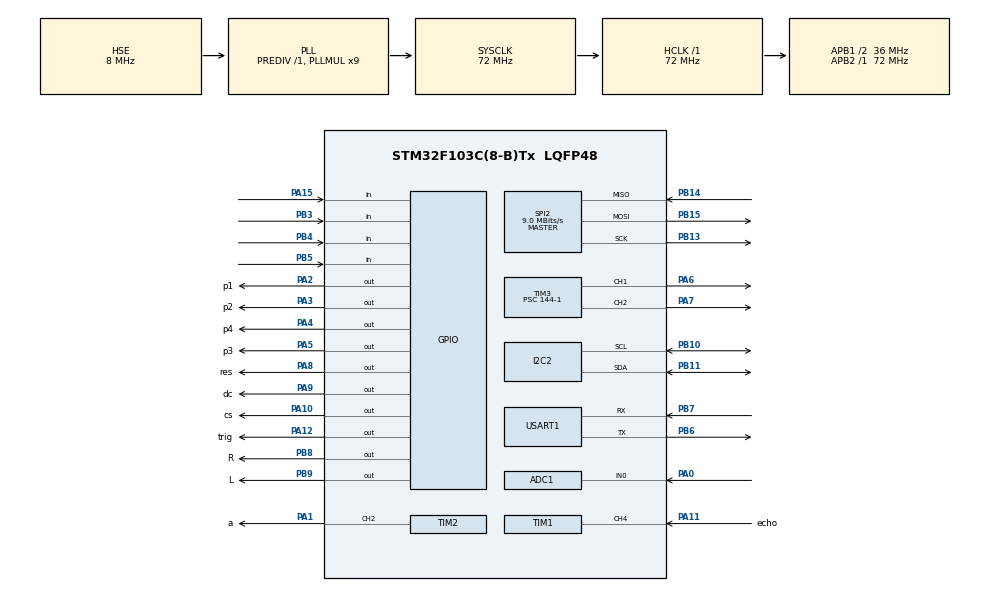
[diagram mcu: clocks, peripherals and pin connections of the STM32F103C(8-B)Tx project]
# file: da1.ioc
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ADC1.Channel-0\#ChannelRegularConversion=ADC_CHANNEL_0
ADC1.NbrOfConversionFlag=1
ADC1.Rank-0\#ChannelRegularConversion=1
ADC1.SamplingTime-0\#ChannelRegularConversion=ADC_SAMPLETIME_1CYCLE_5
ADC1.master=1
Mcu.Family=STM32F1
Mcu.Name=STM32F103C(8-B)Tx
Mcu.Package=LQFP48
NVIC.PriorityGroup=NVIC_PRIORITYGROUP_4
NVIC.SPI2_IRQn=true\:0\:0\:false\:false\:true\:true\:true\:true
NVIC.TIM1_CC_IRQn=true\:0\:0\:true\:false\:true\:true\:true\:true
NVIC.USART1_IRQn=true\:0\:0\:false\:false\:true\:true\:true\:true
PA0-WKUP.Signal=ADCx_IN0
PA1.GPIO_Label=a
PA1.Signal=S_TIM2_CH2
PA10.GPIO_Label=cs
PA10.Signal=GPIO_Output
PA11.GPIO_Label=echo
PA11.Signal=S_TIM1_CH4
PA12.GPIO_Label=trig
PA12.GPIO_Speed=GPIO_SPEED_FREQ_HIGH
PA12.Signal=GPIO_Output
PA13.Mode=Serial_Wire
PA13.Signal=SYS_JTMS-SWDIO
PA14.Mode=Serial_Wire
PA14.Signal=SYS_JTCK-SWCLK
PA15.Signal=GPIO_Input
PA2.GPIO_Label=p1
PA2.Signal=GPIO_Output
PA3.GPIO_Label=p2
PA3.Signal=GPIO_Output
PA4.GPIO_Label=p4
PA4.Signal=GPIO_Output
PA5.GPIO_Label=p3
PA5.Signal=GPIO_Output
PA6.Signal=S_TIM3_CH1
PA7.Signal=S_TIM3_CH2
PA8.GPIO_Label=res
PA8.Signal=GPIO_Output
PA9.GPIO_Label=dc
PA9.Signal=GPIO_Output
PB10.Mode=I2C
PB10.Signal=I2C2_SCL
PB11.Mode=I2C
PB11.Signal=I2C2_SDA
PB13.Mode=Full_Duplex_Master
PB13.Signal=SPI2_SCK
PB14.Mode=Full_Duplex_Master
PB14.Signal=SPI2_MISO
PB15.Mode=Full_Duplex_Master
PB15.Signal=SPI2_MOSI
PB3.Signal=GPIO_Input
PB4.Signal=GPIO_Input
PB5.Signal=GPIO_Input
PB6.Mode=Asynchronous
PB6.Signal=USART1_TX
PB7.Mode=Asynchronous
PB7.Signal=USART1_RX
PB8.GPIO_Label=R
PB8.Signal=GPIO_Output
PB9.GPIO_Label=L
PB9.Signal=GPIO_Output
PD0-OSC_IN.Mode=HSE-External-Oscillator
PD0-OSC_IN.Signal=RCC_OSC_IN
PD1-OSC_OUT.Mode=HSE-External-Oscillator
PD1-OSC_OUT.Signal=RCC_OSC_OUT
ProjectManager.HeapSize=0x200
ProjectManager.StackSize=0x400
ProjectManager.TargetToolchain=STM32CubeIDE
RCC.ADCPresc=RCC_ADCPCLK2_DIV6
RCC.AHBFreq_Value=72000000
RCC.APB1CLKDivider=RCC_HCLK_DIV2
RCC.APB1Freq_Value=36000000
RCC.APB1TimFreq_Value=72000000
RCC.APB2Freq_Value=72000000
RCC.APB2TimFreq_Value=72000000
RCC.HCLKFreq_Value=72000000
RCC.PLLMUL=RCC_PLL_MUL9
RCC.PLLSourceVirtual=RCC_PLLSOURCE_HSE
RCC.SYSCLKFreq_VALUE=72000000
RCC.SYSCLKSource=RCC_SYSCLKSOURCE_PLLCLK
RCC.USBFreq_Value=72000000
SH.ADCx_IN0.0=ADC1_IN0,IN0
SH.S_TIM1_CH4.0=TIM1_CH4,Input_Capture4_from_TI4
SH.S_TIM2_CH2.0=TIM2_CH2,PWM Generation2 CH2
SH.S_TIM3_CH1.0=TIM3_CH1,PWM Generation1 CH1
SH.S_TIM3_CH2.0=TIM3_CH2,PWM Generation2 CH2
SPI2.BaudRatePrescaler=SPI_BAUDRATEPRESCALER_4
SPI2.CalculateBaudRate=9.0 MBits/s
SPI2.Direction=SPI_DIRECTION_2LINES
SPI2.Mode=SPI_MODE_MASTER
SPI2.VirtualType=VM_MASTER
TIM1.Channel-Input_Capture4_from_TI4=TIM_CHANNEL_4
TIM1.Period=0xffff-1
TIM1.Prescaler=72-1
TIM2.Channel-PWM\ Generation2\ CH2=TIM_CHANNEL_2
TIM2.Period=10000-1
TIM2.Prescaler=144-1
TIM3.Channel-PWM\ Generation1\ CH1=TIM_CHANNEL_1
TIM3.Channel-PWM\ Generation2\ CH2=TIM_CHANNEL_2
TIM3.Period=10000-1
TIM3.Prescaler=144-1
USART1.VirtualMode=VM_ASYNC
VP_TIM1_VS_ClockSourceINT.Mode=Internal
VP_TIM3_VS_ClockSourceINT.Mode=Internal
VP_TIM3_VS_ClockSourceITR.Mode=TriggerSource_ITR0
board=custom

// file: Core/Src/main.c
/* USER CODE BEGIN Header */
/**
  ******************************************************************************
  * @file           : main.c
  * @brief          : Main program body
  ******************************************************************************
  * @attention
  *
  * Copyright (c) 2025 STMicroelectronics.
  * All rights reserved.
  *
  * This software is licensed under terms that can be found in the LICENSE file
  * in the root directory of this software component.
  * If no LICENSE file comes with this software, it is provided AS-IS.
  *
  ******************************************************************************
  */
/* USER CODE END Header */
#include "main.h"

/* USER CODE BEGIN Includes */
#include "hcsr04.h"
#include "mpu6050.h"
#include "ssd1306.h"
#include <string.h>
#include <stdio.h>
/* USER CODE END Includes */

ADC_HandleTypeDef hadc1;

I2C_HandleTypeDef hi2c2;

SPI_HandleTypeDef hspi2;

TIM_HandleTypeDef htim1;
TIM_HandleTypeDef htim2;
TIM_HandleTypeDef htim3;

UART_HandleTypeDef huart1;

void SystemClock_Config(void);
static void MX_GPIO_Init(void);
static void MX_ADC1_Init(void);
static void MX_I2C2_Init(void);
static void MX_SPI2_Init(void);
static void MX_TIM2_Init(void);
static void MX_TIM3_Init(void);
static void MX_USART1_UART_Init(void);
static void MX_TIM1_Init(void);
/* USER CODE BEGIN PFP */
uint32_t IC_Val1 = 0;
uint32_t IC_Val2 = 0;
uint32_t Difference = 0;
uint8_t Is_First_Captured = 0;  // is the first value captured ?
double Distance  = 0.0;
uint32_t check;
char chuoi[10];
uint32_t ADC_VAL;
uint32_t pin,mode;
float anpha=5.555555555;//1 độ
uint16_t B;
char no[20]="                   ";
/* USER CODE END PFP */

/* USER CODE BEGIN 0 */
//-------------------------------hàm do khoảng cách rằng sr04-----------
void HAL_TIM_IC_CaptureCallback(TIM_HandleTypeDef *htim)
{

	if (htim->Channel == HAL_TIM_ACTIVE_CHANNEL_4)  // if the interrupt source is channel1
	{
		if (Is_First_Captured==0) // if the first value is not captured
		{
			IC_Val1 = HAL_TIM_ReadCapturedValue(htim, TIM_CHANNEL_4); // read the first value
			Is_First_Captured = 1;  // set the first captured as true
			// Now change the polarity to falling edge
			__HAL_TIM_SET_CAPTUREPOLARITY(htim, TIM_CHANNEL_4, TIM_INPUTCHANNELPOLARITY_FALLING);
		}

		else if (Is_First_Captured==1)   // if the first is already captured
		{
			IC_Val2 = HAL_TIM_ReadCapturedValue(htim, TIM_CHANNEL_4);  // read second value
			__HAL_TIM_SET_COUNTER(htim, 0);  // reset the counter
			if (IC_Val2 > IC_Val1)
						{
							Difference = IC_Val2-IC_Val1;
						}

						else if (IC_Val1 > IC_Val2)
						{
							Difference = (0xffff - IC_Val1) + IC_Val2;
						}

						Distance = (double)Difference * .034/2;
						Is_First_Captured = 0; // set it back to false

			// set polarity to rising edge
			__HAL_TIM_SET_CAPTUREPOLARITY(htim, TIM_CHANNEL_4, TIM_INPUTCHANNELPOLARITY_RISING);
			__HAL_TIM_DISABLE_IT(&htim1, TIM_IT_CC1);
		}
	}
}
// chuyen doi int to string
void int2char(uint16_t N, char * str){
	int i = 0;
	while (N > 0) {

	        // Convert integer digit to character and store
	      	// it in the str
	        str[i++] = N % 10 + '0';
	      	N /= 10;
	}
	str[i] = '\0';
	// Reverse the string to get the correct order
	for (int j = 0, k = i - 1; j < k; j++, k--) {
		char temp = str[j];
		str[j] = str[k];
		str[k] = temp;
	}
}
//-------------hàm di chuyển servo----------------
void servo(uint16_t x){

		  htim3.Instance->CCR2 =(uint16_t)(270+(float)x*anpha);  // duty cycle is 1.5 ms
}
//-------------hàm đ�?c giá trị adc và chuyển đổi thành volt
void read_adc(){
	HAL_ADC_Start(&hadc1);
	HAL_ADC_PollForConversion(&hadc1, 10);
	ADC_VAL = HAL_ADC_GetValue(&hadc1);
	HAL_ADC_Stop(&hadc1);
	pin=(double)(((((double)ADC_VAL*3.3)/4095)*6)*100)/12;
}
//-------------hàm hiện thị------
void pin1(uint8_t x,uint8_t y){
	read_adc();
	int2char((uint16_t) pin, chuoi);
	ssd1306_SetCursor(x, y);
	ssd1306_WriteString(chuoi, Font_7x10, White);
	ssd1306_UpdateScreen();
}
void mode1(uint8_t x,uint8_t y){
	if (mode==1) {
		ssd1306_SetCursor(x, y);
		ssd1306_WriteString("Che do tu dong", Font_7x10, White);
		ssd1306_UpdateScreen();
	}
	if (mode==2) {
		ssd1306_SetCursor(x, y);
		ssd1306_WriteString("Che do dieu khien", Font_7x10, White);
		ssd1306_UpdateScreen();
	}
}
//-------------hàm đi�?u khiển------
void speed1(uint16_t R,uint16_t L){
	htim2.Instance->CCR2 =L;
	htim3.Instance->CCR1 =R;
}
void go_up(){
	 HAL_GPIO_WritePin(GPIOA, p1_Pin, 1);
	 HAL_GPIO_WritePin(GPIOA, p4_Pin, 1);
	 HAL_GPIO_WritePin(GPIOA, p2_Pin, 0);
	 HAL_GPIO_WritePin(GPIOA, p3_Pin, 0);
}
void go_down(){
	 HAL_GPIO_WritePin(GPIOA, p2_Pin, 1);
	 HAL_GPIO_WritePin(GPIOA, p3_Pin, 1);
	 HAL_GPIO_WritePin(GPIOA, p1_Pin, 0);
	 HAL_GPIO_WritePin(GPIOA, p4_Pin, 0);
}
void go_right(){
	 HAL_GPIO_WritePin(GPIOA, p1_Pin, 1);
	 HAL_GPIO_WritePin(GPIOA, p3_Pin, 1);
	 HAL_GPIO_WritePin(GPIOA, p2_Pin, 0);
	 HAL_GPIO_WritePin(GPIOA, p4_Pin, 0);
}
void go_left(){
	 HAL_GPIO_WritePin(GPIOA, p2_Pin, 1);
	 HAL_GPIO_WritePin(GPIOA, p4_Pin, 1);
	 HAL_GPIO_WritePin(GPIOA, p1_Pin, 0);
	 HAL_GPIO_WritePin(GPIOA, p3_Pin, 0);
}
//-------hàm hiển thị oled
void display(){
	ssd1306_SetCursor(0, 0);
	ssd1306_WriteString(no, Font_7x10, White);
	ssd1306_SetCursor(0, 12);
	ssd1306_WriteString(no, Font_7x10, White);
	ssd1306_SetCursor(0, 24);
	ssd1306_WriteString(no, Font_7x10, White);
	ssd1306_UpdateScreen();
	HCSR04_Read(&htim1, &check);
	int2char(Distance,chuoi);
	ssd1306_SetCursor(0, 24);
	ssd1306_WriteString(chuoi, Font_7x10, White);
	ssd1306_WriteString("--", Font_7x10, White);
	int2char(B, chuoi);
	ssd1306_WriteString(chuoi, Font_7x10, White);
	ssd1306_UpdateScreen();
	pin1(0,0);
	mode1(0, 12);
}
//------------HÀM HIỂM THỊ LED RẼ
void led_R_L(){
	if 		(B<90) 	{
		HAL_GPIO_WritePin(R_GPIO_Port, R_Pin, GPIO_PIN_SET);
		HAL_GPIO_WritePin(L_GPIO_Port, L_Pin, GPIO_PIN_RESET);
	}
	else if	(B>90)	 {
		HAL_GPIO_WritePin(L_GPIO_Port, L_Pin, GPIO_PIN_SET);
		HAL_GPIO_WritePin(R_GPIO_Port, R_Pin, GPIO_PIN_RESET);
	}
	else {
		 HAL_GPIO_WritePin(L_GPIO_Port, L_Pin, GPIO_PIN_RESET);
		 HAL_GPIO_WritePin(R_GPIO_Port, R_Pin, GPIO_PIN_RESET);
	}
}
/* USER CODE END 0 */

int main(void)
{

  /* MCU Configuration--------------------------------------------------------*/

  /* Reset of all peripherals, Initializes the Flash interface and the Systick. */
  HAL_Init();

  /* Configure the system clock */
  SystemClock_Config();

  /* Initialize all configured peripherals */
  MX_GPIO_Init();
  MX_ADC1_Init();
  MX_I2C2_Init();
  MX_SPI2_Init();
  MX_TIM2_Init();
  MX_TIM3_Init();
  MX_USART1_UART_Init();
  MX_TIM1_Init();
  /* USER CODE BEGIN 2 */
  HAL_TIM_IC_Start_IT(&htim1,TIM_CHANNEL_4); // khoi dong timer
  ssd1306_Init();
  HAL_TIM_PWM_Start(&htim3, TIM_CHANNEL_2);
  HAL_TIM_PWM_Start(&htim2, TIM_CHANNEL_2);
  HAL_TIM_PWM_Start(&htim3, TIM_CHANNEL_1);
  mode=1;
  pin=100;
  HAL_GPIO_WritePin(R_GPIO_Port, R_Pin, GPIO_PIN_SET);
  /* USER CODE END 2 */

  /* Infinite loop */
  while (1)
  {

    /* USER CODE BEGIN 3 */
//HCSR04_Read(&htim1, &check);
	  servo(B);
	  display();
	  led_R_L();
	  speed1(2000,2000);
	  go_left();
  }
  /* USER CODE END 3 */
}

void SystemClock_Config(void)
{
  RCC_OscInitTypeDef RCC_OscInitStruct = {0};
  RCC_ClkInitTypeDef RCC_ClkInitStruct = {0};
  RCC_PeriphCLKInitTypeDef PeriphClkInit = {0};

  /** Initializes the RCC Oscillators according to the specified parameters
  * in the RCC_OscInitTypeDef structure.
  */
  RCC_OscInitStruct.OscillatorType = RCC_OSCILLATORTYPE_HSE;
  RCC_OscInitStruct.HSEState = RCC_HSE_ON;
  RCC_OscInitStruct.HSEPredivValue = RCC_HSE_PREDIV_DIV1;
  RCC_OscInitStruct.HSIState = RCC_HSI_ON;
  RCC_OscInitStruct.PLL.PLLState = RCC_PLL_ON;
  RCC_OscInitStruct.PLL.PLLSource = RCC_PLLSOURCE_HSE;
  RCC_OscInitStruct.PLL.PLLMUL = RCC_PLL_MUL9;
  if (HAL_RCC_OscConfig(&RCC_OscInitStruct) != HAL_OK)
  {
    Error_Handler();
  }

  /** Initializes the CPU, AHB and APB buses clocks
  */
  RCC_ClkInitStruct.ClockType = RCC_CLOCKTYPE_HCLK|RCC_CLOCKTYPE_SYSCLK
                              |RCC_CLOCKTYPE_PCLK1|RCC_CLOCKTYPE_PCLK2;
  RCC_ClkInitStruct.SYSCLKSource = RCC_SYSCLKSOURCE_PLLCLK;
  RCC_ClkInitStruct.AHBCLKDivider = RCC_SYSCLK_DIV1;
  RCC_ClkInitStruct.APB1CLKDivider = RCC_HCLK_DIV2;
  RCC_ClkInitStruct.APB2CLKDivider = RCC_HCLK_DIV1;

  if (HAL_RCC_ClockConfig(&RCC_ClkInitStruct, FLASH_LATENCY_2) != HAL_OK)
  {
    Error_Handler();
  }
  PeriphClkInit.PeriphClockSelection = RCC_PERIPHCLK_ADC;
  PeriphClkInit.AdcClockSelection = RCC_ADCPCLK2_DIV6;
  if (HAL_RCCEx_PeriphCLKConfig(&PeriphClkInit) != HAL_OK)
  {
    Error_Handler();
  }
}

static void MX_ADC1_Init(void)
{

  ADC_ChannelConfTypeDef sConfig = {0};

  /** Common config
  */
  hadc1.Instance = ADC1;
  hadc1.Init.ScanConvMode = ADC_SCAN_DISABLE;
  hadc1.Init.ContinuousConvMode = DISABLE;
  hadc1.Init.DiscontinuousConvMode = DISABLE;
  hadc1.Init.ExternalTrigConv = ADC_SOFTWARE_START;
  hadc1.Init.DataAlign = ADC_DATAALIGN_RIGHT;
  hadc1.Init.NbrOfConversion = 1;
  if (HAL_ADC_Init(&hadc1) != HAL_OK)
  {
    Error_Handler();
  }

  /** Configure Regular Channel
  */
  sConfig.Channel = ADC_CHANNEL_0;
  sConfig.Rank = ADC_REGULAR_RANK_1;
  sConfig.SamplingTime = ADC_SAMPLETIME_1CYCLE_5;
  if (HAL_ADC_ConfigChannel(&hadc1, &sConfig) != HAL_OK)
  {
    Error_Handler();
  }

}

static void MX_I2C2_Init(void)
{

  hi2c2.Instance = I2C2;
  hi2c2.Init.ClockSpeed = 100000;
  hi2c2.Init.DutyCycle = I2C_DUTYCYCLE_2;
  hi2c2.Init.OwnAddress1 = 0;
  hi2c2.Init.AddressingMode = I2C_ADDRESSINGMODE_7BIT;
  hi2c2.Init.DualAddressMode = I2C_DUALADDRESS_DISABLE;
  hi2c2.Init.OwnAddress2 = 0;
  hi2c2.Init.GeneralCallMode = I2C_GENERALCALL_DISABLE;
  hi2c2.Init.NoStretchMode = I2C_NOSTRETCH_DISABLE;
  if (HAL_I2C_Init(&hi2c2) != HAL_OK)
  {
    Error_Handler();
  }

}

static void MX_SPI2_Init(void)
{

  /* SPI2 parameter configuration*/
  hspi2.Instance = SPI2;
  hspi2.Init.Mode = SPI_MODE_MASTER;
  hspi2.Init.Direction = SPI_DIRECTION_2LINES;
  hspi2.Init.DataSize = SPI_DATASIZE_8BIT;
  hspi2.Init.CLKPolarity = SPI_POLARITY_LOW;
  hspi2.Init.CLKPhase = SPI_PHASE_1EDGE;
  hspi2.Init.NSS = SPI_NSS_SOFT;
  hspi2.Init.BaudRatePrescaler = SPI_BAUDRATEPRESCALER_4;
  hspi2.Init.FirstBit = SPI_FIRSTBIT_MSB;
  hspi2.Init.TIMode = SPI_TIMODE_DISABLE;
  hspi2.Init.CRCCalculation = SPI_CRCCALCULATION_DISABLE;
  hspi2.Init.CRCPolynomial = 10;
  if (HAL_SPI_Init(&hspi2) != HAL_OK)
  {
    Error_Handler();
  }

}

static void MX_TIM1_Init(void)
{

  TIM_ClockConfigTypeDef sClockSourceConfig = {0};
  TIM_MasterConfigTypeDef sMasterConfig = {0};
  TIM_IC_InitTypeDef sConfigIC = {0};

  htim1.Instance = TIM1;
  htim1.Init.Prescaler = 72-1;
  htim1.Init.CounterMode = TIM_COUNTERMODE_UP;
  htim1.Init.Period = 0xffff-1;
  htim1.Init.ClockDivision = TIM_CLOCKDIVISION_DIV1;
  htim1.Init.RepetitionCounter = 0;
  htim1.Init.AutoReloadPreload = TIM_AUTORELOAD_PRELOAD_DISABLE;
  if (HAL_TIM_Base_Init(&htim1) != HAL_OK)
  {
    Error_Handler();
  }
  sClockSourceConfig.ClockSource = TIM_CLOCKSOURCE_INTERNAL;
  if (HAL_TIM_ConfigClockSource(&htim1, &sClockSourceConfig) != HAL_OK)
  {
    Error_Handler();
  }
  if (HAL_TIM_IC_Init(&htim1) != HAL_OK)
  {
    Error_Handler();
  }
  sMasterConfig.MasterOutputTrigger = TIM_TRGO_RESET;
  sMasterConfig.MasterSlaveMode = TIM_MASTERSLAVEMODE_DISABLE;
  if (HAL_TIMEx_MasterConfigSynchronization(&htim1, &sMasterConfig) != HAL_OK)
  {
    Error_Handler();
  }
  sConfigIC.ICPolarity = TIM_INPUTCHANNELPOLARITY_RISING;
  sConfigIC.ICSelection = TIM_ICSELECTION_DIRECTTI;
  sConfigIC.ICPrescaler = TIM_ICPSC_DIV1;
  sConfigIC.ICFilter = 0;
  if (HAL_TIM_IC_ConfigChannel(&htim1, &sConfigIC, TIM_CHANNEL_4) != HAL_OK)
  {
    Error_Handler();
  }

}

static void MX_TIM2_Init(void)
{

  TIM_MasterConfigTypeDef sMasterConfig = {0};
  TIM_OC_InitTypeDef sConfigOC = {0};

  htim2.Instance = TIM2;
  htim2.Init.Prescaler = 144-1;
  htim2.Init.CounterMode = TIM_COUNTERMODE_UP;
  htim2.Init.Period = 10000-1;
  htim2.Init.ClockDivision = TIM_CLOCKDIVISION_DIV1;
  htim2.Init.AutoReloadPreload = TIM_AUTORELOAD_PRELOAD_DISABLE;
  if (HAL_TIM_PWM_Init(&htim2) != HAL_OK)
  {
    Error_Handler();
  }
  sMasterConfig.MasterOutputTrigger = TIM_TRGO_RESET;
  sMasterConfig.MasterSlaveMode = TIM_MASTERSLAVEMODE_DISABLE;
  if (HAL_TIMEx_MasterConfigSynchronization(&htim2, &sMasterConfig) != HAL_OK)
  {
    Error_Handler();
  }
  sConfigOC.OCMode = TIM_OCMODE_PWM1;
  sConfigOC.Pulse = 0;
  sConfigOC.OCPolarity = TIM_OCPOLARITY_HIGH;
  sConfigOC.OCFastMode = TIM_OCFAST_DISABLE;
  if (HAL_TIM_PWM_ConfigChannel(&htim2, &sConfigOC, TIM_CHANNEL_2) != HAL_OK)
  {
    Error_Handler();
  }
  HAL_TIM_MspPostInit(&htim2);

}

static void MX_TIM3_Init(void)
{

  TIM_ClockConfigTypeDef sClockSourceConfig = {0};
  TIM_SlaveConfigTypeDef sSlaveConfig = {0};
  TIM_MasterConfigTypeDef sMasterConfig = {0};
  TIM_OC_InitTypeDef sConfigOC = {0};

  htim3.Instance = TIM3;
  htim3.Init.Prescaler = 144-1;
  htim3.Init.CounterMode = TIM_COUNTERMODE_UP;
  htim3.Init.Period = 10000-1;
  htim3.Init.ClockDivision = TIM_CLOCKDIVISION_DIV1;
  htim3.Init.AutoReloadPreload = TIM_AUTORELOAD_PRELOAD_DISABLE;
  if (HAL_TIM_Base_Init(&htim3) != HAL_OK)
  {
    Error_Handler();
  }
  sClockSourceConfig.ClockSource = TIM_CLOCKSOURCE_INTERNAL;
  if (HAL_TIM_ConfigClockSource(&htim3, &sClockSourceConfig) != HAL_OK)
  {
    Error_Handler();
  }
  if (HAL_TIM_PWM_Init(&htim3) != HAL_OK)
  {
    Error_Handler();
  }
  sSlaveConfig.SlaveMode = TIM_SLAVEMODE_DISABLE;
  sSlaveConfig.InputTrigger = TIM_TS_ITR0;
  if (HAL_TIM_SlaveConfigSynchro(&htim3, &sSlaveConfig) != HAL_OK)
  {
    Error_Handler();
  }
  sMasterConfig.MasterOutputTrigger = TIM_TRGO_RESET;
  sMasterConfig.MasterSlaveMode = TIM_MASTERSLAVEMODE_DISABLE;
  if (HAL_TIMEx_MasterConfigSynchronization(&htim3, &sMasterConfig) != HAL_OK)
  {
    Error_Handler();
  }
  sConfigOC.OCMode = TIM_OCMODE_PWM1;
  sConfigOC.Pulse = 0;
  sConfigOC.OCPolarity = TIM_OCPOLARITY_HIGH;
  sConfigOC.OCFastMode = TIM_OCFAST_DISABLE;
  if (HAL_TIM_PWM_ConfigChannel(&htim3, &sConfigOC, TIM_CHANNEL_1) != HAL_OK)
  {
    Error_Handler();
  }
  if (HAL_TIM_PWM_ConfigChannel(&htim3, &sConfigOC, TIM_CHANNEL_2) != HAL_OK)
  {
    Error_Handler();
  }
  HAL_TIM_MspPostInit(&htim3);

}

static void MX_USART1_UART_Init(void)
{

  huart1.Instance = USART1;
  huart1.Init.BaudRate = 115200;
  huart1.Init.WordLength = UART_WORDLENGTH_8B;
  huart1.Init.StopBits = UART_STOPBITS_1;
  huart1.Init.Parity = UART_PARITY_NONE;
  huart1.Init.Mode = UART_MODE_TX_RX;
  huart1.Init.HwFlowCtl = UART_HWCONTROL_NONE;
  huart1.Init.OverSampling = UART_OVERSAMPLING_16;
  if (HAL_UART_Init(&huart1) != HAL_OK)
  {
    Error_Handler();
  }

}

static void MX_GPIO_Init(void)
{
  GPIO_InitTypeDef GPIO_InitStruct = {0};

  /* GPIO Ports Clock Enable */
  __HAL_RCC_GPIOD_CLK_ENABLE();
  __HAL_RCC_GPIOA_CLK_ENABLE();
  __HAL_RCC_GPIOB_CLK_ENABLE();

  /*Configure GPIO pin Output Level */
  HAL_GPIO_WritePin(GPIOA, p1_Pin|p2_Pin|p4_Pin|p3_Pin
                          |res_Pin|dc_Pin|cs_Pin|trig_Pin, GPIO_PIN_RESET);

  /*Configure GPIO pin Output Level */
  HAL_GPIO_WritePin(GPIOB, R_Pin|L_Pin, GPIO_PIN_RESET);

  /*Configure GPIO pins : p1_Pin p2_Pin p4_Pin p3_Pin
                           res_Pin dc_Pin cs_Pin */
  GPIO_InitStruct.Pin = p1_Pin|p2_Pin|p4_Pin|p3_Pin
                          |res_Pin|dc_Pin|cs_Pin;
  GPIO_InitStruct.Mode = GPIO_MODE_OUTPUT_PP;
  GPIO_InitStruct.Pull = GPIO_NOPULL;
  GPIO_InitStruct.Speed = GPIO_SPEED_FREQ_LOW;
  HAL_GPIO_Init(GPIOA, &GPIO_InitStruct);

  /*Configure GPIO pin : trig_Pin */
  GPIO_InitStruct.Pin = trig_Pin;
  GPIO_InitStruct.Mode = GPIO_MODE_OUTPUT_PP;
  GPIO_InitStruct.Pull = GPIO_NOPULL;
  GPIO_InitStruct.Speed = GPIO_SPEED_FREQ_HIGH;
  HAL_GPIO_Init(trig_GPIO_Port, &GPIO_InitStruct);

  /*Configure GPIO pin : PA15 */
  GPIO_InitStruct.Pin = GPIO_PIN_15;
  GPIO_InitStruct.Mode = GPIO_MODE_INPUT;
  GPIO_InitStruct.Pull = GPIO_NOPULL;
  HAL_GPIO_Init(GPIOA, &GPIO_InitStruct);

  /*Configure GPIO pins : PB3 PB4 PB5 */
  GPIO_InitStruct.Pin = GPIO_PIN_3|GPIO_PIN_4|GPIO_PIN_5;
  GPIO_InitStruct.Mode = GPIO_MODE_INPUT;
  GPIO_InitStruct.Pull = GPIO_NOPULL;
  HAL_GPIO_Init(GPIOB, &GPIO_InitStruct);

  /*Configure GPIO pins : R_Pin L_Pin */
  GPIO_InitStruct.Pin = R_Pin|L_Pin;
  GPIO_InitStruct.Mode = GPIO_MODE_OUTPUT_PP;
  GPIO_InitStruct.Pull = GPIO_NOPULL;
  GPIO_InitStruct.Speed = GPIO_SPEED_FREQ_LOW;
  HAL_GPIO_Init(GPIOB, &GPIO_InitStruct);

}

void Error_Handler(void)
{
  __disable_irq();
  while (1)
  {
  }
}
